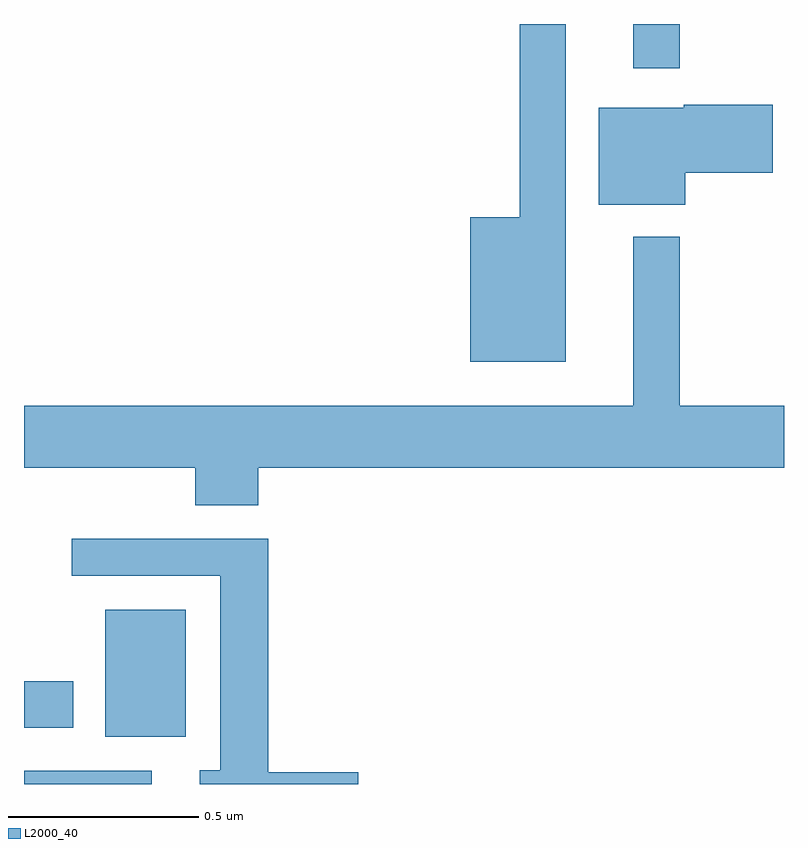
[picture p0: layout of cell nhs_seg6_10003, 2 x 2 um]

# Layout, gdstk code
import gdstk
lib = gdstk.Library(unit=1e-6, precision=1e-09)
def R(c, l, rs):  # rectangles x0, y0, x1, y1
    for r in rs: c.add(gdstk.rectangle(r[:2], r[2:], *l))
def P(c, l, *ps):  # polygons
    for p in ps: c.add(gdstk.Polygon(p, *l))
L2000_40 = (2000, 40)

nhs_seg6_10003 = lib.new_cell('nhs_seg6_10003')
R(nhs_seg6_10003, L2000_40, [(241,950.5,241.336,950.535), (241.214,950.624,241.426,950.959), (241,950.648,241.129,950.77), (242.603,952.383,242.725,952.5)])
P(nhs_seg6_10003, L2000_40, [(242.425,952.5),(242.304,952.5),(242.304,951.991),(242.174,951.991),(242.174,951.611),(242.425,951.611)],
  [(242.74,952.109),(242.971,952.109),(242.971,952.287),(242.736,952.287),(242.736,952.279),(242.513,952.279),(242.513,952.025),(242.74,952.025)],
  [(241,951.332),(241.451,951.332),(241.451,951.233),(241.616,951.233),(241.616,951.332),(243,951.332),(243,951.496),(242.725,951.496),(242.725,951.94),(242.603,951.94),(242.603,951.496),(241,951.496)],
  [(241.879,950.531),(241.643,950.531),(241.643,951.146),(241.125,951.146),(241.125,951.048),(241.517,951.048),(241.517,950.536),(241.463,950.536),(241.463,950.5),(241.879,950.5)])

lib.write_gds('nhs_seg6_10003.gds')
